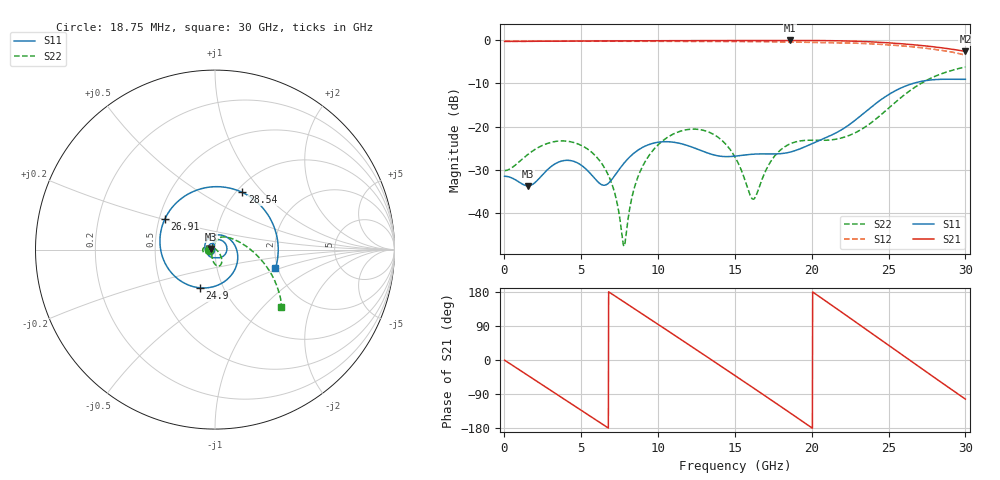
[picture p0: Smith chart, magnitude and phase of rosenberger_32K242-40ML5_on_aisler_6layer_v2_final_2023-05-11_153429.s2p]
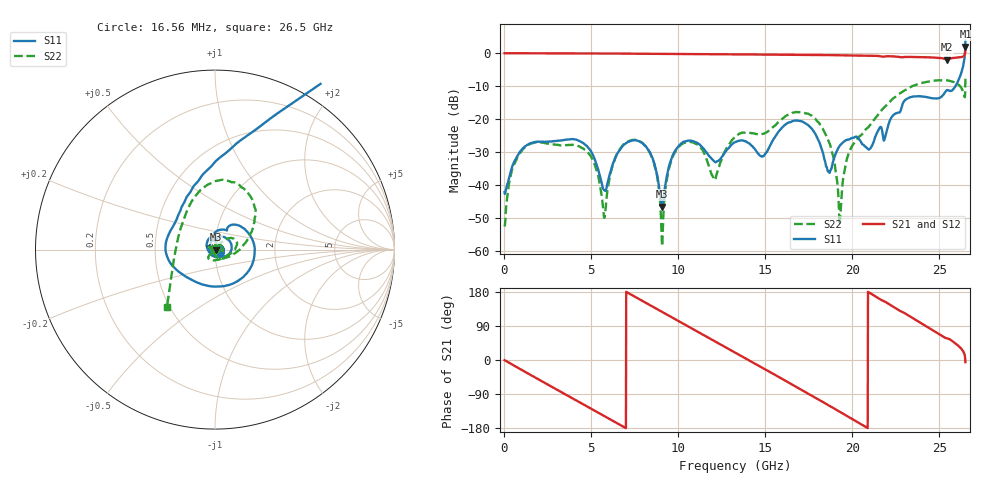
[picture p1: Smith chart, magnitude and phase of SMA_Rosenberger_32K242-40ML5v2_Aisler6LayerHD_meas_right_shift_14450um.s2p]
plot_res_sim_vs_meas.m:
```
% BSD 2-Clause License
% Copyright (c) 2023, Tobias Ammann
% 
% Redistribution and use in source and binary forms, with or without
% modification, are permitted provided that the following conditions are met:
% 
% 1. Redistributions of source code must retain the above copyright notice, this
%    list of conditions and the following disclaimer.
% 
% 2. Redistributions in binary form must reproduce the above copyright notice,
%    this list of conditions and the following disclaimer in the documentation
%    and/or other materials provided with the distribution.
%
% THIS SOFTWARE IS PROVIDED BY THE COPYRIGHT HOLDERS AND CONTRIBUTORS "AS IS"
% AND ANY EXPRESS OR IMPLIED WARRANTIES, INCLUDING, BUT NOT LIMITED TO, THE
% IMPLIED WARRANTIES OF MERCHANTABILITY AND FITNESS FOR A PARTICULAR PURPOSE ARE
% DISCLAIMED. IN NO EVENT SHALL THE COPYRIGHT HOLDER OR CONTRIBUTORS BE LIABLE
% FOR ANY DIRECT, INDIRECT, INCIDENTAL, SPECIAL, EXEMPLARY, OR CONSEQUENTIAL
% DAMAGES (INCLUDING, BUT NOT LIMITED TO, PROCUREMENT OF SUBSTITUTE GOODS OR
% SERVICES; LOSS OF USE, DATA, OR PROFITS; OR BUSINESS INTERRUPTION) HOWEVER
% CAUSED AND ON ANY THEORY OF LIABILITY, WHETHER IN CONTRACT, STRICT LIABILITY,
% OR TORT (INCLUDING NEGLIGENCE OR OTHERWISE) ARISING IN ANY WAY OUT OF THE USE
% OF THIS SOFTWARE, EVEN IF ADVISED OF THE POSSIBILITY OF SUCH DAMAGE.

close all;
addpath('../CTB');

% Plot Size and scaling
size_x = 1280;
size_y = 720;
ref_line_y = -20;
x_lim = [0, 25];
y_lim = [-35, 0];
cmap = lines (21);

% Parse Touchstone
[~,freq_sim,sp_sim,~,~] = read_touchstone('rosenberger_32K242-40ML5_on_aisler_6layer_v2_final_2023-05-11_153429.s2p');
[~,freq_meas,sp_meas,~,~] = read_touchstone('SMA_Rosenberger_32K242-40ML5v2_Aisler6LayerHD_meas_right_shift_14450um.s2p');

s21dB_sim = 20*log10(abs(squeeze(sp_sim(2,1,:))));
s11dB_sim = 20*log10(abs(squeeze(sp_sim(1,1,:))));

s21dB_meas = 20*log10(abs(squeeze(sp_meas(2,1,:))));
s11dB_meas = 20*log10(abs(squeeze(sp_meas(1,1,:))));


% Create Figure
fig = figure('Position', [0,0, size_x, size_y]);

% Plot Lines
hold on;
plot(freq_sim/1e9, s21dB_sim, 'Linewidth', 1.5, 'Color', cmap(5,:), 'lineStyle', '--');
plot(freq_sim/1e9, s11dB_sim, 'Linewidth', 1.5, 'Color', cmap(2,:), 'lineStyle', '--');
plot(freq_meas/1e9, s21dB_meas, 'Linewidth', 1.5, 'Color', cmap(3,:));
plot(freq_meas/1e9, s11dB_meas, 'Linewidth', 1.5, 'Color', cmap(1,:));
plot(xlim, repmat(ref_line_y, 1, 2), 'bk--', 'Linewidth', 0.5);
text(x_lim(2) - 2, ref_line_y + 0.8, [num2str(ref_line_y), ' dB'], 'FontSize', 10);

% Marker S21_meas
[~, mkr_idx] = min(abs(freq_meas - 20e9))
mkr_val = s21dB_meas(mkr_idx);
text(freq_meas(mkr_idx)/1e9, mkr_val - 1, [num2str(mkr_val, '%.2f'), ' dB'], 'FontSize', 9, 'horizontalalignment', 'center');
plot(freq_meas(mkr_idx)/1e9, mkr_val, 'or', 'markersize', 8);
hold off;

% Apply Scaling
xlim(x_lim);
ylim(y_lim);

% Plot Texts
legend('S_{21} - sim.', 'S_{11} - sim.', 'S_{21} - meas. deemb.', 'S_{11} - meas. deemb.', 'FontSize', 11, 'Location', 'SouthEast');
title({'Rosenberger 32K242-40ML5 on Aisler 6LayerHD',...
       'OpenEMS Simulation vs Deembedded VNA Measurement'});
xlabel('Frequency / GHz');
ylabel('Magnitude / dB');
grid minor

% Export to JPG and PDF
print('plot_res_sim_vs_meas.pdf', '-landscape', '-bestfit');
print('plot_res_sim_vs_meas.png', '-dpng', sprintf('-S%i,%i', size_x, size_y));
```
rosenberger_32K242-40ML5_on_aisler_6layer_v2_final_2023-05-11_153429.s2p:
#  Hz  S  RI  R  50
! comment_to_be_done
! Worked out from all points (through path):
!   1600 points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, 18.75 MHz to 30 GHz, reference 50 ohm
!   highest |S21| = -0.08 dB at 18.6 GHz (marker M1); lowest = -2.6 dB at 30 GHz (marker M2)
!   group delay of S21, straight-line fit = 76.2 ps
!   lowest |S11| = -33.7 dB at 1.538 GHz (marker M3), VSWR 1.04, Z = 48 + j0.309 ohm
!   |S11| at or under -10 dB: start of sweep to 26.59 GHz
!   |S22| runs from -47.6 to -6.2 dB; largest |S21 - S12| = 0.074
!   S11 on the Smith chart (normalised r, x): 18.75 MHz: 0.95, +0.00; 24.9 GHz: 0.78, -0.35; 26.91 GHz: 0.54, +0.20; 28.54 GHz: 1.07, +0.78; 30 GHz: 1.94, -0.46
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1.875e7  -0.0268 0.000168  0.967 -0.00841  0.9686 -0.00852  -0.0311 -0.000301
1.5375e9  -0.0205 0.00322  0.7336 -0.6323  0.7353 -0.6322  -0.0441 -0.0187
6.7875e9  -0.00887 0.0205  -0.9786 0.00167  -0.9698 0.00164  -0.0215 0.0165
7.8e9  -0.0125 0.0361  -0.8725 0.4455  -0.8637 0.4415  0.00285 0.00306
1.05375e10  0.0645 0.0189  0.1744 0.9684  0.1724 0.9505  0.038 -0.0633
1.501875e10  -0.00606 -0.0454  0.742 -0.6532  0.726 -0.6335  -0.0168 -0.041
1.86e10  -0.0503 -0.00809  -0.7557 -0.641  -0.7256 -0.614  0.019 0.0606
2.49e10  -0.0832 -0.213  0.6954 0.6217  0.6539 0.5941  0.1549 0.031
2.690625e10  -0.2794 0.1705  0.8424 -0.2349  0.7947 -0.2226  0.2858 -0.0929
2.85375e10  0.1515 0.3189  0.3804 -0.7171  0.3448 -0.6746  0.3509 -0.2206
3e10  0.337 -0.1042  -0.1688 -0.7217  -0.1732 -0.6475  0.3693 -0.322
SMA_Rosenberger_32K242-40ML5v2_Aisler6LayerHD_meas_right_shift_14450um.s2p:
# HZ S RI R 50
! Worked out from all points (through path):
!   1600 points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, 16.56 MHz to 26.5 GHz, reference 50 ohm
!   highest |S21| = 1.97 dB at 26.5 GHz (marker M1); lowest = -1.9 dB at 25.44 GHz (marker M2)
!   group delay of S21, straight-line fit = 72.2 ps
!   lowest |S11| = -46.5 dB at 9.06 GHz (marker M3), VSWR 1.01, Z = 50.5 - j0.0495 ohm
!   |S11| at or under -10 dB: start of sweep to 25.93 GHz
!   |S22| runs from -58.5 to -7.6 dB; largest |S21 - S12| = 1e-13
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1.65625e7  0.00777 0.000812  0.9998 -0.00837  0.9998 -0.00837  -0.00228 0.000599
3.925312e9  0.0474 -0.0158  -0.1957 -0.9731  -0.1957 -0.9731  0.0408 0.00167
5.747188e9  0.008 -0.00223  -0.8398 -0.5271  -0.8398 -0.5271  0.00111 0.003
7.95e9  0.037 -0.022  -0.8949 0.4037  -0.8949 0.4037  -0.0411 0.0135
9.059688e9  0.0047 -0.00049  -0.5944 0.7764  -0.5944 0.7764  -0.000752 -0.00105
1.326656e10  0.0442 -0.00739  0.9032 0.3253  0.9032 0.3253  -0.0368 -0.0396
1.758938e10  0.0686 -0.032  -0.0293 -0.9394  -0.0293 -0.9394  0.0975 0.0629
1.929531e10  0.039 0.00913  -0.681 -0.6336  -0.681 -0.6336  0.00227 -0.00177
2.067e10  -0.000208 -0.0403  -0.9172 -0.0988  -0.9172 -0.0988  0.0416 -0.0502
2.544e10  -0.2758 -0.00192  0.4348 0.6743  0.4348 0.6743  0.0295 0.3867
2.65e10  0.9903 1.209  1.248 -0.1244  1.248 -0.1244  -0.268 -0.3201
